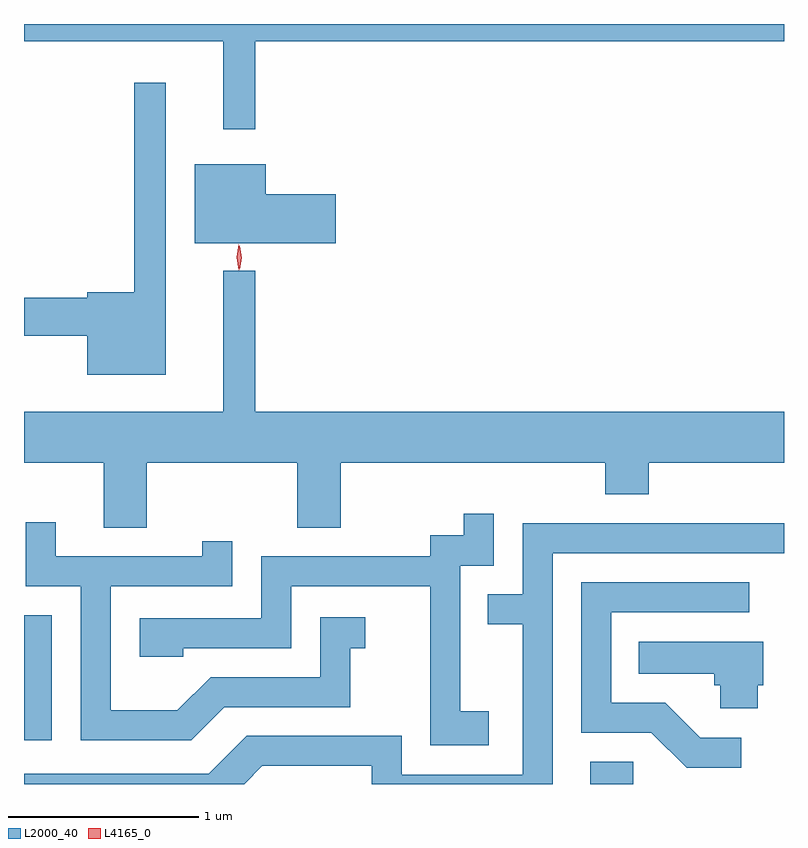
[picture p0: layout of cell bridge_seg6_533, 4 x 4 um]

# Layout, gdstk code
import gdstk
lib = gdstk.Library(unit=1e-6, precision=1e-09)
def R(c, l, rs):  # rectangles x0, y0, x1, y1
    for r in rs: c.add(gdstk.rectangle(r[:2], r[2:], *l))
def P(c, l, *ps):  # polygons
    for p in ps: c.add(gdstk.Polygon(p, *l))
L2000_40 = (2000, 40)
L4165_0 = (4165, 0)

bridge_seg6_533 = lib.new_cell('bridge_seg6_533')
R(bridge_seg6_533, L2000_40, [(462.141,1663.786,462.369,1663.904), (459.162,1664.016,459.309,1664.674)])
P(bridge_seg6_533, L2000_40, [(460.379,1667.696),(463.162,1667.696),(463.162,1667.786),(459.162,1667.786),(459.162,1667.696),(460.211,1667.696),(460.211,1667.233),(460.379,1667.233)],
  [(459.909,1667.478),(459.741,1667.478),(459.741,1666.374),(459.496,1666.374),(459.496,1666.344),(459.162,1666.344),(459.162,1666.146),(459.496,1666.146),(459.496,1665.941),(459.909,1665.941)],
  [(460.804,1666.889),(460.434,1666.889),(460.434,1667.049),(460.061,1667.049),(460.061,1666.631),(460.804,1666.631)],
  [(459.809,1665.476),(460.601,1665.476),(460.601,1665.136),(460.829,1665.136),(460.829,1665.476),(462.221,1665.476),(462.221,1665.311),(462.449,1665.311),(462.449,1665.476),(463.162,1665.476),(463.162,1665.744),(460.379,1665.744),(460.379,1666.488),(460.211,1666.488),(460.211,1665.744),(459.162,1665.744),(459.162,1665.476),(459.581,1665.476),(459.581,1665.136),(459.809,1665.136)],
  [(461.609,1664.169),(461.459,1664.169),(461.459,1664.936),(461.634,1664.936),(461.634,1665.208),(461.476,1665.208),(461.476,1665.094),(461.301,1665.094),(461.301,1664.984),(460.411,1664.984),(460.411,1664.659),(459.771,1664.659),(459.771,1664.456),(459.999,1664.456),(459.999,1664.501),(460.569,1664.501),(460.569,1664.826),(461.301,1664.826),(461.301,1663.991),(461.609,1663.991)],
  [(460.217,1664.191),(460.879,1664.191),(460.879,1664.501),(460.958,1664.501),(460.958,1664.664),(460.721,1664.664),(460.721,1664.349),(460.144,1664.349),(459.969,1664.174),(459.619,1664.174),(459.619,1664.826),(460.259,1664.826),(460.259,1665.063),(460.101,1665.063),(460.101,1664.984),(459.329,1664.984),(459.329,1665.163),(459.171,1665.163),(459.171,1664.826),(459.461,1664.826),(459.461,1664.016),(460.042,1664.016)],
  [(460.417,1663.881),(460.991,1663.881),(460.991,1663.786),(461.944,1663.786),(461.944,1665.001),(463.162,1665.001),(463.162,1665.159),(461.786,1665.159),(461.786,1664.784),(461.603,1664.784),(461.603,1664.626),(461.786,1664.626),(461.786,1663.834),(461.149,1663.834),(461.149,1664.039),(460.334,1664.039),(460.134,1663.839),(459.162,1663.839),(459.162,1663.786),(460.322,1663.786)],
  [(462.938,1664.029),(462.722,1664.029),(462.537,1664.214),(462.254,1664.214),(462.254,1664.691),(462.978,1664.691),(462.978,1664.849),(462.096,1664.849),(462.096,1664.056),(462.464,1664.056),(462.649,1663.871),(462.938,1663.871)],
  [(463.024,1664.306),(463.054,1664.306),(463.054,1664.534),(462.398,1664.534),(462.398,1664.366),(462.796,1664.366),(462.796,1664.306),(462.826,1664.306),(462.826,1664.186),(463.024,1664.186)])
P(bridge_seg6_533, L4165_0, [(460.297,1666.493),(460.288,1666.556),(460.297,1666.619),(460.298,1666.62),(460.298,1666.619),(460.308,1666.556),(460.298,1666.493),(460.298,1666.493)],
  [(460.292,1666.49),(460.282,1666.558),(460.291,1666.626),(460.292,1666.626),(460.292,1666.626),(460.302,1666.558),(460.293,1666.49),(460.293,1666.49)])

lib.write_gds('bridge_seg6_533.gds')
